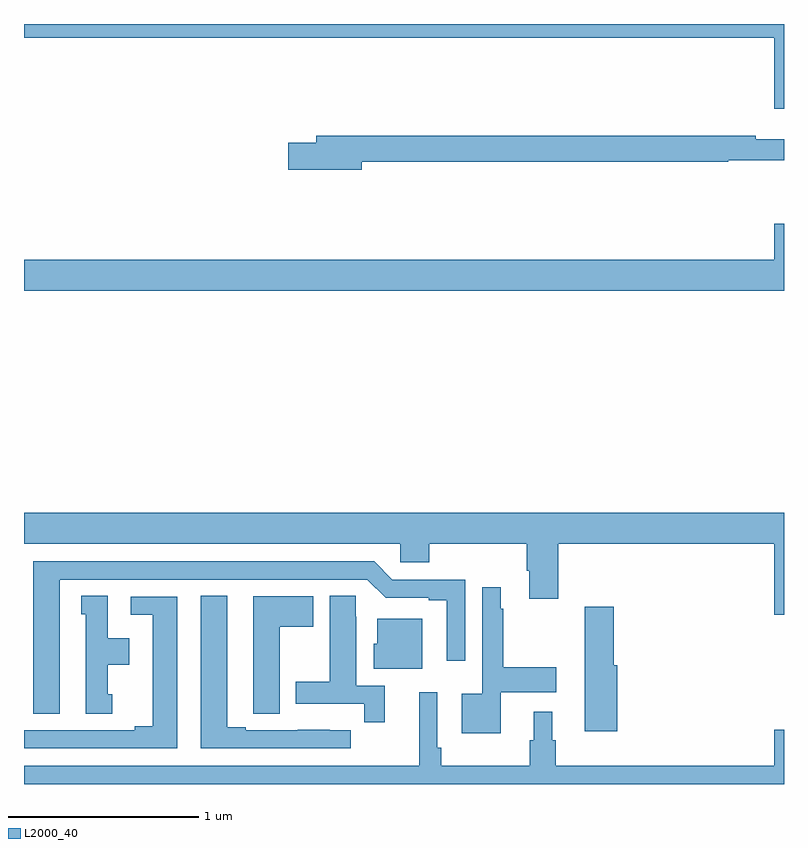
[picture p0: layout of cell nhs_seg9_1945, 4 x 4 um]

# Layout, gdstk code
import gdstk
lib = gdstk.Library(unit=1e-6, precision=1e-09)
def P(c, l, *ps):  # polygons
    for p in ps: c.add(gdstk.Polygon(p, *l))
L2000_40 = (2000, 40)

nhs_seg9_1945 = lib.new_cell('nhs_seg9_1945')
P(nhs_seg9_1945, L2000_40, [(225,1188.5),(221,1188.5),(221,1188.428),(224.948,1188.428),(224.948,1188.054),(225,1188.054)],
  [(222.778,1187.776),(224.707,1187.776),(224.707,1187.784),(225,1187.784),(225,1187.893),(224.852,1187.893),(224.852,1187.912),(222.539,1187.912),(222.539,1187.876),(222.39,1187.876),(222.39,1187.734),(222.778,1187.734)],
  [(225,1187.449),(224.948,1187.449),(224.948,1187.26),(221,1187.26),(221,1187.096),(225,1187.096)],
  [(225,1185.928),(221,1185.928),(221,1185.764),(222.981,1185.764),(222.981,1185.666),(223.133,1185.666),(223.133,1185.764),(223.646,1185.764),(223.646,1185.622),(223.658,1185.622),(223.658,1185.474),(223.811,1185.474),(223.811,1185.764),(224.948,1185.764),(224.948,1185.39),(225,1185.39)],
  [(221.188,1185.576),(222.807,1185.576),(222.903,1185.48),(223.13,1185.48),(223.13,1185.468),(223.226,1185.468),(223.226,1185.15),(223.323,1185.15),(223.323,1185.576),(222.939,1185.576),(222.843,1185.672),(221.048,1185.672),(221.048,1184.871),(221.188,1184.871)],
  [(223.51,1184.984),(223.801,1184.984),(223.801,1185.114),(223.522,1185.114),(223.522,1185.422),(223.51,1185.422),(223.51,1185.535),(223.413,1185.535),(223.413,1184.974),(223.304,1184.974),(223.304,1184.768),(223.51,1184.768)],
  [(221.464,1184.973),(221.44,1184.973),(221.44,1185.128),(221.554,1185.128),(221.554,1185.268),(221.44,1185.268),(221.44,1185.491),(221.3,1185.491),(221.3,1185.393),(221.324,1185.393),(221.324,1184.871),(221.464,1184.871)],
  [(222.899,1185.018),(222.748,1185.018),(222.748,1185.38),(222.747,1185.38),(222.747,1185.491),(222.608,1185.491),(222.608,1185.039),(222.431,1185.039),(222.431,1184.922),(222.79,1184.922),(222.79,1184.826),(222.899,1184.826)],
  [(222.721,1184.784),(222.608,1184.784),(222.608,1184.785),(222.442,1184.785),(222.442,1184.784),(222.166,1184.784),(222.166,1184.799),(222.07,1184.799),(222.07,1185.491),(221.93,1185.491),(221.93,1184.688),(222.721,1184.688)],
  [(222.346,1185.328),(222.523,1185.328),(222.523,1185.487),(222.206,1185.487),(222.206,1184.977),(222.207,1184.977),(222.207,1184.869),(222.346,1184.869)],
  [(221.806,1185.486),(221.562,1185.486),(221.562,1185.39),(221.678,1185.39),(221.678,1184.804),(221.582,1184.804),(221.582,1184.784),(221,1184.784),(221,1184.688),(221.806,1184.688)],
  [(224.123,1185.126),(224.105,1185.126),(224.105,1185.433),(223.951,1185.433),(223.951,1185.126),(223.952,1185.126),(223.952,1184.778),(224.123,1184.778)],
  [(223.096,1185.37),(222.86,1185.37),(222.86,1185.237),(222.842,1185.237),(222.842,1185.107),(223.096,1185.107)],
  [(225,1184.785),(224.948,1184.785),(224.948,1184.596),(223.799,1184.596),(223.799,1184.73),(223.78,1184.73),(223.78,1184.881),(223.682,1184.881),(223.682,1184.73),(223.663,1184.73),(223.663,1184.596),(223.196,1184.596),(223.196,1184.692),(223.176,1184.692),(223.176,1184.983),(223.079,1184.983),(223.079,1184.596),(221,1184.596),(221,1184.5),(225,1184.5)])

lib.write_gds('nhs_seg9_1945.gds')
